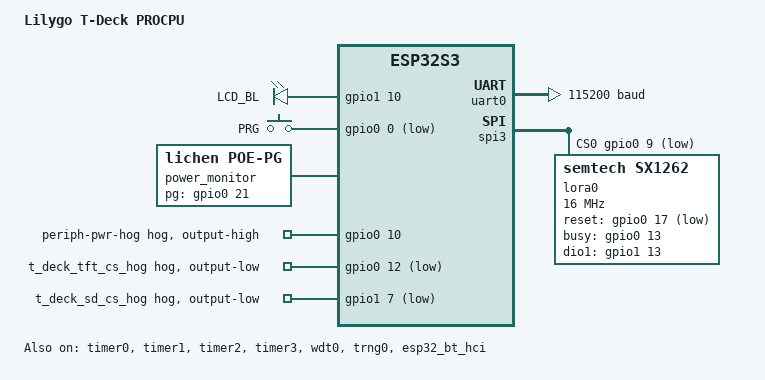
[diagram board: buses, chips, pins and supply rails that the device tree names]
/* SPDX-License-Identifier: GPL-3.0-or-later */
/* SPDX-FileCopyrightText: The contributors to the LICHEN project */

 /dts-v1/;

#include <espressif/esp32s3/esp32s3_wroom_n16r8.dtsi>
#include "t_deck-pinctrl.dtsi"
#include <zephyr/dt-bindings/input/input-event-codes.h>
#include <zephyr/dt-bindings/lora/sx126x.h>
#include <zephyr/dt-bindings/mipi_dbi/mipi_dbi.h>

/ {
	model = "Lilygo T-Deck PROCPU";
	compatible = "lilygo,t-deck";

	aliases {
		led0      = &led0;
		sw0       = &button0;
		lora0     = &lora0;
		watchdog0 = &wdt0;
	};

	chosen {
		zephyr,sram           = &sram0;
		zephyr,console        = &uart0;
		zephyr,shell-uart     = &uart0;
		zephyr,flash          = &flash0;
		zephyr,code-partition = &slot0_partition;
		zephyr,bt-hci         = &esp32_bt_hci;
	};

	leds {
		compatible = "gpio-leds";
		led0: led_0 {
			/* T-Deck has no user LED; reuse display backlight GPIO */
			gpios = <&gpio1 10 GPIO_ACTIVE_HIGH>; /* GPIO42 */
			label = "LCD_BL";
		};
	};

	buttons {
		compatible = "gpio-keys";
		button0: button_0 {
			gpios = <&gpio0 0 (GPIO_PULL_UP | GPIO_ACTIVE_LOW)>;
			label = "PRG";
			zephyr,code = <INPUT_KEY_0>;
		};
	};

	power_monitor {
		compatible = "lichen,poe-pg";
		pg-gpios = <&gpio0 21 GPIO_ACTIVE_HIGH>;
		status = "okay";
	};

	tdeck_mipi_dbi: mipi-dbi {
		compatible = "zephyr,mipi-dbi-spi";
		spi-dev = <&spi3>;
		dc-gpios = <&gpio0 11 GPIO_ACTIVE_HIGH>;
		write-only;
		#address-cells = <1>;
		#size-cells = <0>;
		status = "disabled";

		tdeck_display: st7789v@1 {
			compatible = "sitronix,st7789v";
			reg = <1>;
			status = "disabled";
			/*
			 * TODO(verify): 20 MHz exceeds the ST7789V 66 ns
			 * serial write cycle (~15 MHz); common T-Deck
			 * firmware runs faster successfully.  Confirm on
			 * hardware during display bring-up and lower here
			 * (or in the app overlay) if the panel misbehaves.
			 */
			mipi-max-frequency = <20000000>;

			width = <240>;
			height = <320>;
			x-offset = <0>;
			y-offset = <0>;

			vcom = <0x28>;
			gctrl = <0x35>;
			vrhs = <0x10>;
			vdvs = <0x20>;
			mdac = <0x00>;
			gamma = <0x01>;
			colmod = <0x55>;
			lcm = <0x2c>;
			porch-param = [0c 0c 00 33 33];
			cmd2en-param = [5a 69 02 00];
			pwctrl1-param = [a4 a1];
			pvgam-param = [d0 00 02 07 0a 28 32 44 42 06 0e 12 14 17];
			nvgam-param = [d0 00 02 07 0a 28 31 54 47 0e 1c 17 1b 1e];
			ram-param = [00 f0];
			rgb-param = [40 02 14];
			mipi-mode = <MIPI_DBI_MODE_SPI_4WIRE>;
		};
	};
};

&uart0 {
	status = "okay";
	current-speed = <115200>;
	pinctrl-0 = <&uart0_default>;
	pinctrl-names = "default";
};

&gpio0 {
	status = "okay";

	/*
	 * GPIO10 enables the T-Deck peripheral rail.  LilyGO and Meshtastic
	 * sources both assert it before using the keyboard controller, display,
	 * SD card, trackball, audio devices, or radio-adjacent peripherals.
	 */
	periph-pwr-hog {
		gpio-hog;
		gpios = <10 GPIO_ACTIVE_HIGH>;
		output-high;
	};

	/*
	 * The ST7789 display shares SPI3 with LoRa and SD.  Keep its CS
	 * deselected until an overlay enables the display node and removes
	 * this hog so SPI can own CS1.
	 */
	t_deck_tft_cs_hog: tft-cs-hog {
		gpio-hog;
		gpios = <12 GPIO_ACTIVE_LOW>;
		output-low;
	};
};

&gpio1 {
	status = "okay";

	/*
	 * The SD card also shares SPI3.  Keep CS inactive until an overlay
	 * enables storage and removes this hog so SPI can own CS2.
	 */
	t_deck_sd_cs_hog: sd-cs-hog {
		gpio-hog;
		gpios = <7 GPIO_ACTIVE_LOW>; /* GPIO39 = gpio1[7] */
		output-low;
	};
};

/*
 * Shared SPI3 bus: the SX1262 LoRa radio (reg 0), the ST7789 display
 * (reg 1, reached through tdeck_mipi_dbi) and the SD card (reg 2) all
 * hang off this controller.  Chip selects are bus-level cs-gpios indexed
 * by child reg, so exactly one client is selected per transaction:
 *   reg 0 = CS0 GPIO9  LoRa (enabled)
 *   reg 1 = CS1 GPIO12 TFT  (disabled; t_deck_tft_cs_hog holds it
 *          inactive until an overlay /delete-node/'s the hog)
 *   reg 2 = CS2 GPIO39 SD   (disabled; t_deck_sd_cs_hog as above)
 * SPIM3 hardware CSEL is deliberately not muxed in pinctrl so the GPIO
 * CS lines cannot fight a hardware chip select.
 *
 * Per-client SCLK constraints (documented, per-device; the SPI core
 * applies each client's limit to its own transactions):
 *   LoRa    16 MHz - SX1262 datasheet maximum SCLK.
 *   Display 20 MHz - above the ST7789V 66 ns serial write cycle
 *           (~15 MHz); tolerated by common T-Deck firmware, confirm on
 *           hardware before trusting (see display node TODO(verify)).
 *   SD      12 MHz - within the SD spec SPI-mode 25 MHz cap; the SD
 *           stack still identifies the card at <= 400 kHz.
 * Physical bus coexistence with the SX1262 is verified on hardware
 * under project-LICHEN-h7t5.7.19.
 */

/*
 * SX1262 LoRa radio on SPI3.
 *   CS=GPIO9  RESET=GPIO17  BUSY=GPIO13  DIO1=GPIO45
 *   DIO2 drives the internal RF TX/RX switch (dio2-tx-enable).
 *   DIO3 supplies the module TCXO at 1.8 V.
 * TODO(verify): pins are from the LilyGO T-Deck ESP32-S3 pinmap
 * (utilities.h / Meshtastic variant.h); BUSY=GPIO13 and DIO1=GPIO45
 * are revision-sensitive and still need physical confirmation of the
 * exact board revision.
 */
&spi3 {
	#address-cells = <1>;
	#size-cells = <0>;
	status = "okay";
	pinctrl-0 = <&spim3_default>;
	pinctrl-names = "default";
	cs-gpios = <&gpio0 9 GPIO_ACTIVE_LOW>,
		   <&gpio0 12 GPIO_ACTIVE_LOW>,
		   <&gpio1 7 GPIO_ACTIVE_LOW>; /* GPIO39 = gpio1[7] */

	lora0: lora@0 {
		compatible = "semtech,sx1262";
		reg = <0>;
		reset-gpios = <&gpio0 17 (GPIO_OPEN_DRAIN | GPIO_ACTIVE_LOW)>;
		busy-gpios  = <&gpio0 13 GPIO_ACTIVE_HIGH>;
		dio1-gpios  = <&gpio1 13 GPIO_ACTIVE_HIGH>; /* GPIO45 = gpio1[13] */
		dio2-tx-enable;
		dio3-tcxo-voltage = <SX126X_DIO3_TCXO_1V8>;
		tcxo-power-startup-delay-ms = <5>;
		/* SX1262 datasheet maximum SCLK; do not raise. */
		spi-max-frequency = <16000000>;
	};

	tdeck_sd: sd@2 {
		compatible = "zephyr,sdhc-spi-slot";
		reg = <2>;
		status = "disabled";
		/* SD SPI mode tops out at 25 MHz; 12 MHz is conservative.
		 * The SD stack identifies the card at <= 400 kHz first,
		 * and the validation overlay caps the bus at 4 MHz. */
		spi-max-frequency = <12000000>;
		mmc {
			compatible = "zephyr,sdmmc-disk";
			status = "disabled";
		};
	};
};

&timer0 { status = "okay"; };
&timer1 { status = "okay"; };
&timer2 { status = "okay"; };
&timer3 { status = "okay"; };

&wdt0 {
	status = "okay";
};

&trng0 {
	status = "okay";
};

&esp32_bt_hci {
	status = "okay";
};

&flash0 {
	status = "okay";
	partitions {
		compatible = "fixed-partitions";
		#address-cells = <1>;
		#size-cells = <1>;

		/* Reserve 64 kB for the bootloader */
		boot_partition: partition@0 {
			label = "mcuboot";
			reg = <0x00000000 0x00010000>;
			read-only;
		};
		/* Application slot 0 (4 MiB): sized for BLE/LVGL/UI growth. */
		slot0_partition: partition@10000 {
			label = "image-0";
			reg = <0x00010000 0x00400000>;
		};
		/* Application slot 1 (4 MiB): same size for swap/OTA images. */
		slot1_partition: partition@410000 {
			label = "image-1";
			reg = <0x00410000 0x00400000>;
		};
		/* MCUboot scratch (512 KiB). */
		scratch_partition: partition@810000 {
			label = "image-scratch";
			reg = <0x00810000 0x00080000>;
		};
		/* NVS / LittleFS storage for config, keys, queues, and state. */
		storage_partition: partition@890000 {
			label = "storage";
			reg = <0x00890000 0x00400000>;
		};
		/* UI assets and optional offline resources. */
		assets_partition: partition@c90000 {
			label = "assets";
			reg = <0x00c90000 0x00300000>;
		};
		/* Field logs, crash exports, and bring-up captures. */
		logs_partition: partition@f90000 {
			label = "logs";
			reg = <0x00f90000 0x00070000>;
		};
	};
};
